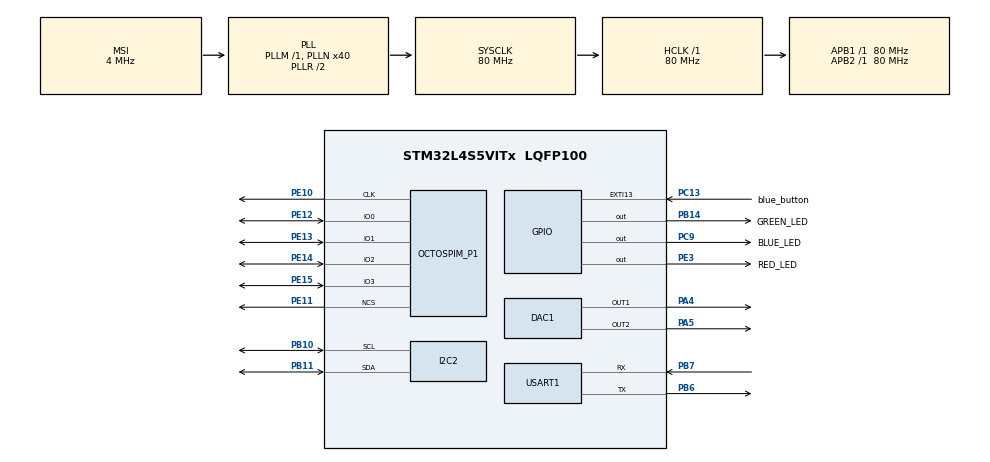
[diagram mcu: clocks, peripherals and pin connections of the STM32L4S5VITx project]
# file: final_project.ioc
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DAC1.DAC_Channel-DAC_OUT2=DAC_CHANNEL_2
DAC1.DAC_Trigger-DAC_OUT1=DAC_TRIGGER_T2_TRGO
DAC1.DAC_Trigger-DAC_OUT2=DAC_TRIGGER_T2_TRGO
Dma.DAC1_CH1.0.Direction=DMA_MEMORY_TO_PERIPH
Dma.DAC1_CH1.0.EventEnable=DISABLE
Dma.DAC1_CH1.0.Instance=DMA1_Channel1
Dma.DAC1_CH1.0.MemDataAlignment=DMA_MDATAALIGN_BYTE
Dma.DAC1_CH1.0.MemInc=DMA_MINC_ENABLE
Dma.DAC1_CH1.0.Mode=DMA_CIRCULAR
Dma.DAC1_CH1.0.PeriphDataAlignment=DMA_PDATAALIGN_BYTE
Dma.DAC1_CH1.0.PeriphInc=DMA_PINC_DISABLE
Dma.DAC1_CH1.0.Polarity=HAL_DMAMUX_REQUEST_GEN_RISING
Dma.DAC1_CH1.0.Priority=DMA_PRIORITY_LOW
Dma.DAC1_CH1.0.RequestNumber=1
Dma.DAC1_CH1.0.SignalID=NONE
Dma.DAC1_CH1.0.SyncEnable=DISABLE
Dma.DAC1_CH1.0.SyncPolarity=HAL_DMAMUX_SYNC_NO_EVENT
Dma.DAC1_CH1.0.SyncRequestNumber=1
Dma.DAC1_CH1.0.SyncSignalID=NONE
Dma.DAC1_CH2.1.Direction=DMA_MEMORY_TO_PERIPH
Dma.DAC1_CH2.1.EventEnable=DISABLE
Dma.DAC1_CH2.1.Instance=DMA1_Channel2
Dma.DAC1_CH2.1.MemDataAlignment=DMA_MDATAALIGN_BYTE
Dma.DAC1_CH2.1.MemInc=DMA_MINC_ENABLE
Dma.DAC1_CH2.1.Mode=DMA_CIRCULAR
Dma.DAC1_CH2.1.PeriphDataAlignment=DMA_PDATAALIGN_BYTE
Dma.DAC1_CH2.1.PeriphInc=DMA_PINC_DISABLE
Dma.DAC1_CH2.1.Polarity=HAL_DMAMUX_REQUEST_GEN_RISING
Dma.DAC1_CH2.1.Priority=DMA_PRIORITY_LOW
Dma.DAC1_CH2.1.RequestNumber=1
Dma.DAC1_CH2.1.SignalID=NONE
Dma.DAC1_CH2.1.SyncEnable=DISABLE
Dma.DAC1_CH2.1.SyncPolarity=HAL_DMAMUX_SYNC_NO_EVENT
Dma.DAC1_CH2.1.SyncRequestNumber=1
Dma.DAC1_CH2.1.SyncSignalID=NONE
Dma.Request0=DAC1_CH1
Dma.Request1=DAC1_CH2
FREERTOS.Tasks01=read_sensor,0,128,start_read_sensor,Default,NULL,Dynamic,NULL,NULL;press_button,0,128,start_press_button,Default,NULL,Dynamic,NULL,NULL;change_sensor,0,128,start_change_sensor,Default,NULL,Dynamic,NULL,NULL;send_terminal,0,128,start_send_terminal,Default,NULL,Dynamic,NULL,NULL;detect_temp,3,128,start_temp,Default,NULL,Dynamic,NULL,NULL;detect_gyro,3,128,start_detect_gyro,Default,NULL,Dynamic,NULL,NULL
I2C2.Timing=0x10909CEC
Mcu.Family=STM32L4
Mcu.Name=STM32L4S5VITx
Mcu.Package=LQFP100
NVIC.DMA1_Channel1_IRQn=true\:5\:0\:false\:false\:true\:true\:false\:true\:true
NVIC.DMA1_Channel2_IRQn=true\:5\:0\:false\:false\:true\:true\:false\:true\:true
NVIC.EXTI15_10_IRQn=true\:5\:0\:false\:false\:true\:true\:true\:true\:true
NVIC.I2C2_ER_IRQn=true\:5\:0\:false\:false\:true\:true\:true\:true\:true
NVIC.I2C2_EV_IRQn=true\:5\:0\:false\:false\:true\:true\:true\:true\:true
NVIC.PriorityGroup=NVIC_PRIORITYGROUP_4
NVIC.TIM2_IRQn=true\:5\:0\:false\:false\:true\:true\:true\:true\:true
NVIC.TIM6_DAC_IRQn=true\:5\:0\:false\:false\:true\:false\:false\:true\:true
NVIC.TimeBase=TIM6_DAC_IRQn
NVIC.TimeBaseIP=TIM6
OCTOSPI1.MemoryType=HAL_OSPI_MEMTYPE_MACRONIX
PA13\ (JTMS/SWDIO).Signal=SYS_JTMS-SWDIO
PA4.Signal=COMP_DAC11_group
PA5.Signal=COMP_DAC12_group
PB10.Mode=I2C
PB10.Signal=I2C2_SCL
PB11.Mode=I2C
PB11.Signal=I2C2_SDA
PB14.GPIO_Label=GREEN_LED
PB14.Signal=GPIO_Output
PB3\ (JTDO/TRACESWO).Signal=SYS_JTDO-SWO
PB6.Mode=Asynchronous
PB6.Signal=USART1_TX
PB7.Mode=Asynchronous
PB7.Signal=USART1_RX
PC13.GPIO_Label=blue_button
PC13.Signal=GPXTI13
PC9.GPIO_Label=BLUE_LED
PC9.Signal=GPIO_Output
PE10.Mode=O1_P1_CLK
PE10.Signal=OCTOSPIM_P1_CLK
PE11.Mode=OCTOSPI1_Port1_NCS
PE11.Signal=OCTOSPIM_P1_NCS
PE12.Mode=OCTOSPI1_IOL_Port1L
PE12.Signal=OCTOSPIM_P1_IO0
PE13.Mode=OCTOSPI1_IOL_Port1L
PE13.Signal=OCTOSPIM_P1_IO1
PE14.Mode=OCTOSPI1_IOL_Port1L
PE14.Signal=OCTOSPIM_P1_IO2
PE15.Mode=OCTOSPI1_IOL_Port1L
PE15.Signal=OCTOSPIM_P1_IO3
PE3.GPIO_Label=RED_LED
PE3.Signal=GPIO_Output
ProjectManager.HeapSize=0x200
ProjectManager.StackSize=0x400
ProjectManager.TargetToolchain=STM32CubeIDE
RCC.ADCFreq_Value=48000000
RCC.AHBFreq_Value=80000000
RCC.APB1Freq_Value=80000000
RCC.APB1TimFreq_Value=80000000
RCC.APB2Freq_Value=80000000
RCC.APB2TimFreq_Value=80000000
RCC.CortexFreq_Value=80000000
RCC.HCLKFreq_Value=80000000
RCC.HSE_VALUE=8000000
RCC.HSI48_VALUE=48000000
RCC.HSI_VALUE=16000000
RCC.LSE_VALUE=32768
RCC.MSI_VALUE=4000000
RCC.PLLN=40
RCC.PLLSAI1N=24
RCC.SYSCLKFreq_VALUE=80000000
RCC.SYSCLKSource=RCC_SYSCLKSOURCE_PLLCLK
RCC.USBFreq_Value=48000000
RCC.VCOOutputFreq_Value=160000000
SH.COMP_DAC11_group.0=DAC1_OUT1,DAC_OUT1
SH.COMP_DAC12_group.0=DAC1_OUT2,DAC_OUT2
TIM2.Period=1814
TIM2.Prescaler=1
TIM2.TIM_MasterOutputTrigger=TIM_TRGO_UPDATE
USART1.VirtualMode-Asynchronous=VM_ASYNC
VP_FREERTOS_VS_CMSIS_V1.Mode=CMSIS_V1
VP_OCTOSPI1_VS_quad.Mode=quad_mode
VP_SYS_VS_tim6.Mode=TIM6
VP_TIM2_VS_ClockSourceINT.Mode=Internal
board=B-L4S5I-IOT01A

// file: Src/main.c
/* USER CODE BEGIN Header */
/**
  ******************************************************************************
  * @file           : main.c
  * @brief          : Main program body
  ******************************************************************************
  * @attention
  *
  * Copyright (c) 2022 STMicroelectronics.
  * All rights reserved.
  *
  * This software is licensed under terms that can be found in the LICENSE file
  * in the root directory of this software component.
  * If no LICENSE file comes with this software, it is provided AS-IS.
  *
  ******************************************************************************
  */
/* USER CODE END Header */
#include "main.h"
#include "cmsis_os.h"

/* USER CODE BEGIN Includes */
#include "stm32l4s5i_iot01_qspi.h"
#include "stm32l4s5i_iot01.h"
#include "stm32l4s5i_iot01_hsensor.h"
#include "stm32l4s5i_iot01_gyro.h"
#include "stm32l4s5i_iot01_magneto.h"
#include "stm32l4s5i_iot01_psensor.h"
#include "stm32l4s5i_iot01_tsensor.h"
#include "../Components/lps22hb/lps22hb.c"
#include "../Components/lsm6dsl/lsm6dsl.c"
#include "../Components/lis3mdl/lis3mdl.c"
#include "../Components/hts221/hts221.c"
#include <math.h>
#include <stdio.h>
#include "arm_math.h"
/* USER CODE END Includes */

DAC_HandleTypeDef hdac1;
DMA_HandleTypeDef hdma_dac1_ch1;
DMA_HandleTypeDef hdma_dac1_ch2;

I2C_HandleTypeDef hi2c2;

OSPI_HandleTypeDef hospi1;

TIM_HandleTypeDef htim2;

UART_HandleTypeDef huart1;

osThreadId handle_quakeHandle;
osThreadId handle_tempHandle;
osThreadId handle_speakerHandle;
osThreadId send_terminalHandle;
/* USER CODE BEGIN PV */

#define data_array_size 20
#define wave_size 33075

char buffer[100];
int count = 0;
float humidity;
float gyro[3];
float gyro_x[data_array_size];
float gyro_y[data_array_size];
float gyro_z[data_array_size];

//sound waves
uint8_t G6[28];
uint8_t E7[16];
uint8_t A6[12];

float temp;
int flag = 0;
int temp_warningLevel = 0;//0 no danger, 1 warning, 2 severe, 3 danger.
int quake_warningLevel = 0;
int earthquake = 0;
int mode=0;//mode 0: disable detect, mode 1: detect temp, mode 2: detect earthquake

/* USER CODE END PV */

void SystemClock_Config(void);
static void MX_GPIO_Init(void);
static void MX_DMA_Init(void);
static void MX_I2C2_Init(void);
static void MX_USART1_UART_Init(void);
static void MX_OCTOSPI1_Init(void);
static void MX_TIM2_Init(void);
static void MX_DAC1_Init(void);
void earthquakeHandler(void const * argument);
void temperatureHandler(void const * argument);
void speakerHandler(void const * argument);
void sendTerminal(void const * argument);

/* USER CODE BEGIN PFP */

void init_sound_wave();
void write_sound_wave_into_mem();
void init_gyro_record();
void push_data_into_gyro_record();

/* USER CODE END PFP */

/* USER CODE BEGIN 0 */

uint32_t play[wave_size]={1};//33075

//each time the blue button is pressed, modify the counter to change the detected sensor.
void HAL_GPIO_EXTI_Callback(uint16_t GPIO_PIN) {
	if (GPIO_PIN == GPIO_PIN_13) {
		HAL_GPIO_TogglePin(GPIOA, GPIO_PIN_5);
		mode=(mode+1)%3;
	}
}

/**
 * Initialize the warning sound wave.
 * Level1: with frequency: xxx
 * Level2: with frequency: xxx
 * Level3: with frequency: xxx
 */
void init_sound_wave(){
	//Tone 1
	//G6 1567.98 Hz
	//sample n = 44.1k/1567.98 = 28
	for(int i = 0; i < 28; i++){
		G6[i] =  0.33*(1 + arm_sin_f32(2*PI*i/28))*256;
	}

	//Tone 2
	//E7 2637.02 Hz
	//sample n = 44.1k/1318.5 = 16
	for(int i = 0; i < 16; i++){
		E7[i] =  0.33*(1 + arm_sin_f32(2*PI*i/16))*256;
	}

	//Tone 3
	//A6 3520.0 Hz
	//sample n = 44.1k/3520 = 12
	for(int i = 0; i < 12; i++){
		A6[i] =  0.33*(1 + arm_sin_f32(2*PI*i/12))*256;
	}
}

/**
 * Write the sound waves into the flash.
 */
void write_sound_wave_into_mem(){
	uint32_t tone_addr = 0x000000;

	//Write in tone1 C6, start at 0
	for(int i = 0; i < 1181; i++){
	  if(BSP_QSPI_Write((uint8_t *)G6, tone_addr, 28) != QSPI_OK){
		  Error_Handler();
	  }
	  tone_addr += 28;
	}
	tone_addr = 0x008133;//33075

  //Write in tone2 E6, start at 33075
  for(int i = 0; i < 2067; i++){
	  if(BSP_QSPI_Write((uint8_t *)E7, tone_addr, 16) != QSPI_OK){
		  Error_Handler();
	  }
	  tone_addr += 16;
  }
  tone_addr = 0x010266;//66150

  //Write in tone3 G6, start at 66150
  for(int i = 0; i < 2756; i++){
	  if(BSP_QSPI_Write((uint8_t *)A6, tone_addr, 12) != QSPI_OK){
		  Error_Handler();
	  }
	  tone_addr += 12;
  }
}

/**
 * Initialize the gyro sensor data array.
 */
void init_gyro_record(){
	BSP_GYRO_GetXYZ(gyro);
	for(int i=0;i<data_array_size;i++){
		gyro_x[i]=gyro[0];
		gyro_y[i]=gyro[1];
		gyro_z[i]=gyro[2];
	}
}

/**
 * Update the gyro record.
 */
void push_data_into_gyro_record(){
	for(int i=0;i<data_array_size-1;i++){
		gyro_x[i]=gyro_x[i+1];
		gyro_y[i]=gyro_y[i+1];
		gyro_z[i]=gyro_z[i+1];
	}
	gyro_x[data_array_size-1]=gyro[0];
	gyro_y[data_array_size-1]=gyro[1];
	gyro_z[data_array_size-1]=gyro[2];
}
/* USER CODE END 0 */

int main(void)
{

  /* MCU Configuration--------------------------------------------------------*/

  /* Reset of all peripherals, Initializes the Flash interface and the Systick. */
  HAL_Init();

  /* Configure the system clock */
  SystemClock_Config();

  /* Initialize all configured peripherals */
  MX_GPIO_Init();
  MX_DMA_Init();
  MX_I2C2_Init();
  MX_USART1_UART_Init();
  MX_OCTOSPI1_Init();
  MX_TIM2_Init();
  MX_DAC1_Init();
  /* USER CODE BEGIN 2 */
  //component init
  BSP_QSPI_Init();
  HAL_TIM_Base_Start_IT(&htim2);
  BSP_HSENSOR_Init();
  BSP_GYRO_Init();
  BSP_TSENSOR_Init();
  //private function init
  init_sound_wave();
  init_gyro_record();

  //Erase 3 blocks prior to write in
  if(BSP_QSPI_Erase_Block(0) != QSPI_OK){
	  Error_Handler();
  }
  if(BSP_QSPI_Erase_Block(65536) != QSPI_OK){
	  Error_Handler();
  }
  if(BSP_QSPI_Erase_Block(131072) != QSPI_OK){
	  Error_Handler();
  }

  //After erased the blocks, we can write in the samples of tones
  write_sound_wave_into_mem();

  /* USER CODE END 2 */

  /* Create the thread(s) */
  /* definition and creation of handle_quake */
  osThreadDef(handle_quake, earthquakeHandler, osPriorityHigh, 0, 128);
  handle_quakeHandle = osThreadCreate(osThread(handle_quake), NULL);

  /* definition and creation of handle_temp */
  osThreadDef(handle_temp, temperatureHandler, osPriorityAboveNormal, 0, 128);
  handle_tempHandle = osThreadCreate(osThread(handle_temp), NULL);

  /* definition and creation of handle_speaker */
  osThreadDef(handle_speaker, speakerHandler, osPriorityNormal, 0, 128);
  handle_speakerHandle = osThreadCreate(osThread(handle_speaker), NULL);

  /* definition and creation of send_terminal */
  osThreadDef(send_terminal, sendTerminal, osPriorityNormal, 0, 128);
  send_terminalHandle = osThreadCreate(osThread(send_terminal), NULL);

  /* Start scheduler */
  osKernelStart();

  /* We should never get here as control is now taken by the scheduler */
  /* Infinite loop */
  while (1)
  {

  }
}

void SystemClock_Config(void)
{
  RCC_OscInitTypeDef RCC_OscInitStruct = {0};
  RCC_ClkInitTypeDef RCC_ClkInitStruct = {0};

  /** Configure the main internal regulator output voltage
  */
  if (HAL_PWREx_ControlVoltageScaling(PWR_REGULATOR_VOLTAGE_SCALE1) != HAL_OK)
  {
    Error_Handler();
  }

  /** Initializes the RCC Oscillators according to the specified parameters
  * in the RCC_OscInitTypeDef structure.
  */
  RCC_OscInitStruct.OscillatorType = RCC_OSCILLATORTYPE_MSI;
  RCC_OscInitStruct.MSIState = RCC_MSI_ON;
  RCC_OscInitStruct.MSICalibrationValue = 0;
  RCC_OscInitStruct.MSIClockRange = RCC_MSIRANGE_6;
  RCC_OscInitStruct.PLL.PLLState = RCC_PLL_ON;
  RCC_OscInitStruct.PLL.PLLSource = RCC_PLLSOURCE_MSI;
  RCC_OscInitStruct.PLL.PLLM = 1;
  RCC_OscInitStruct.PLL.PLLN = 40;
  RCC_OscInitStruct.PLL.PLLP = RCC_PLLP_DIV2;
  RCC_OscInitStruct.PLL.PLLQ = RCC_PLLQ_DIV2;
  RCC_OscInitStruct.PLL.PLLR = RCC_PLLR_DIV2;
  if (HAL_RCC_OscConfig(&RCC_OscInitStruct) != HAL_OK)
  {
    Error_Handler();
  }

  /** Initializes the CPU, AHB and APB buses clocks
  */
  RCC_ClkInitStruct.ClockType = RCC_CLOCKTYPE_HCLK|RCC_CLOCKTYPE_SYSCLK
                              |RCC_CLOCKTYPE_PCLK1|RCC_CLOCKTYPE_PCLK2;
  RCC_ClkInitStruct.SYSCLKSource = RCC_SYSCLKSOURCE_PLLCLK;
  RCC_ClkInitStruct.AHBCLKDivider = RCC_SYSCLK_DIV1;
  RCC_ClkInitStruct.APB1CLKDivider = RCC_HCLK_DIV1;
  RCC_ClkInitStruct.APB2CLKDivider = RCC_HCLK_DIV1;

  if (HAL_RCC_ClockConfig(&RCC_ClkInitStruct, FLASH_LATENCY_3) != HAL_OK)
  {
    Error_Handler();
  }
}

static void MX_DAC1_Init(void)
{

  DAC_ChannelConfTypeDef sConfig = {0};

  /** DAC Initialization
  */
  hdac1.Instance = DAC1;
  if (HAL_DAC_Init(&hdac1) != HAL_OK)
  {
    Error_Handler();
  }

  /** DAC channel OUT1 config
  */
  sConfig.DAC_SampleAndHold = DAC_SAMPLEANDHOLD_DISABLE;
  sConfig.DAC_Trigger = DAC_TRIGGER_T2_TRGO;
  sConfig.DAC_HighFrequency = DAC_HIGH_FREQUENCY_INTERFACE_MODE_ABOVE_80MHZ;
  sConfig.DAC_OutputBuffer = DAC_OUTPUTBUFFER_ENABLE;
  sConfig.DAC_ConnectOnChipPeripheral = DAC_CHIPCONNECT_DISABLE;
  sConfig.DAC_UserTrimming = DAC_TRIMMING_FACTORY;
  if (HAL_DAC_ConfigChannel(&hdac1, &sConfig, DAC_CHANNEL_1) != HAL_OK)
  {
    Error_Handler();
  }

  /** DAC channel OUT2 config
  */
  if (HAL_DAC_ConfigChannel(&hdac1, &sConfig, DAC_CHANNEL_2) != HAL_OK)
  {
    Error_Handler();
  }

}

static void MX_I2C2_Init(void)
{

  hi2c2.Instance = I2C2;
  hi2c2.Init.Timing = 0x10909CEC;
  hi2c2.Init.OwnAddress1 = 0;
  hi2c2.Init.AddressingMode = I2C_ADDRESSINGMODE_7BIT;
  hi2c2.Init.DualAddressMode = I2C_DUALADDRESS_DISABLE;
  hi2c2.Init.OwnAddress2 = 0;
  hi2c2.Init.OwnAddress2Masks = I2C_OA2_NOMASK;
  hi2c2.Init.GeneralCallMode = I2C_GENERALCALL_DISABLE;
  hi2c2.Init.NoStretchMode = I2C_NOSTRETCH_DISABLE;
  if (HAL_I2C_Init(&hi2c2) != HAL_OK)
  {
    Error_Handler();
  }

  /** Configure Analogue filter
  */
  if (HAL_I2CEx_ConfigAnalogFilter(&hi2c2, I2C_ANALOGFILTER_ENABLE) != HAL_OK)
  {
    Error_Handler();
  }

  /** Configure Digital filter
  */
  if (HAL_I2CEx_ConfigDigitalFilter(&hi2c2, 0) != HAL_OK)
  {
    Error_Handler();
  }

}

static void MX_OCTOSPI1_Init(void)
{

  OSPIM_CfgTypeDef OSPIM_Cfg_Struct = {0};

  /* OCTOSPI1 parameter configuration*/
  hospi1.Instance = OCTOSPI1;
  hospi1.Init.FifoThreshold = 1;
  hospi1.Init.DualQuad = HAL_OSPI_DUALQUAD_DISABLE;
  hospi1.Init.MemoryType = HAL_OSPI_MEMTYPE_MACRONIX;
  hospi1.Init.DeviceSize = 32;
  hospi1.Init.ChipSelectHighTime = 1;
  hospi1.Init.FreeRunningClock = HAL_OSPI_FREERUNCLK_DISABLE;
  hospi1.Init.ClockMode = HAL_OSPI_CLOCK_MODE_0;
  hospi1.Init.ClockPrescaler = 1;
  hospi1.Init.SampleShifting = HAL_OSPI_SAMPLE_SHIFTING_NONE;
  hospi1.Init.DelayHoldQuarterCycle = HAL_OSPI_DHQC_DISABLE;
  hospi1.Init.ChipSelectBoundary = 0;
  hospi1.Init.DelayBlockBypass = HAL_OSPI_DELAY_BLOCK_BYPASSED;
  if (HAL_OSPI_Init(&hospi1) != HAL_OK)
  {
    Error_Handler();
  }
  OSPIM_Cfg_Struct.ClkPort = 1;
  OSPIM_Cfg_Struct.NCSPort = 1;
  OSPIM_Cfg_Struct.IOLowPort = HAL_OSPIM_IOPORT_1_LOW;
  if (HAL_OSPIM_Config(&hospi1, &OSPIM_Cfg_Struct, HAL_OSPI_TIMEOUT_DEFAULT_VALUE) != HAL_OK)
  {
    Error_Handler();
  }

}

static void MX_TIM2_Init(void)
{

  TIM_ClockConfigTypeDef sClockSourceConfig = {0};
  TIM_MasterConfigTypeDef sMasterConfig = {0};

  htim2.Instance = TIM2;
  htim2.Init.Prescaler = 1;
  htim2.Init.CounterMode = TIM_COUNTERMODE_UP;
  htim2.Init.Period = 1814;
  htim2.Init.ClockDivision = TIM_CLOCKDIVISION_DIV1;
  htim2.Init.AutoReloadPreload = TIM_AUTORELOAD_PRELOAD_DISABLE;
  if (HAL_TIM_Base_Init(&htim2) != HAL_OK)
  {
    Error_Handler();
  }
  sClockSourceConfig.ClockSource = TIM_CLOCKSOURCE_INTERNAL;
  if (HAL_TIM_ConfigClockSource(&htim2, &sClockSourceConfig) != HAL_OK)
  {
    Error_Handler();
  }
  sMasterConfig.MasterOutputTrigger = TIM_TRGO_UPDATE;
  sMasterConfig.MasterSlaveMode = TIM_MASTERSLAVEMODE_DISABLE;
  if (HAL_TIMEx_MasterConfigSynchronization(&htim2, &sMasterConfig) != HAL_OK)
  {
    Error_Handler();
  }

}

static void MX_USART1_UART_Init(void)
{

  huart1.Instance = USART1;
  huart1.Init.BaudRate = 115200;
  huart1.Init.WordLength = UART_WORDLENGTH_8B;
  huart1.Init.StopBits = UART_STOPBITS_1;
  huart1.Init.Parity = UART_PARITY_NONE;
  huart1.Init.Mode = UART_MODE_TX_RX;
  huart1.Init.HwFlowCtl = UART_HWCONTROL_NONE;
  huart1.Init.OverSampling = UART_OVERSAMPLING_16;
  huart1.Init.OneBitSampling = UART_ONE_BIT_SAMPLE_DISABLE;
  huart1.Init.ClockPrescaler = UART_PRESCALER_DIV1;
  huart1.AdvancedInit.AdvFeatureInit = UART_ADVFEATURE_NO_INIT;
  if (HAL_UART_Init(&huart1) != HAL_OK)
  {
    Error_Handler();
  }
  if (HAL_UARTEx_SetTxFifoThreshold(&huart1, UART_TXFIFO_THRESHOLD_1_8) != HAL_OK)
  {
    Error_Handler();
  }
  if (HAL_UARTEx_SetRxFifoThreshold(&huart1, UART_RXFIFO_THRESHOLD_1_8) != HAL_OK)
  {
    Error_Handler();
  }
  if (HAL_UARTEx_DisableFifoMode(&huart1) != HAL_OK)
  {
    Error_Handler();
  }

}

static void MX_DMA_Init(void)
{

  /* DMA controller clock enable */
  __HAL_RCC_DMAMUX1_CLK_ENABLE();
  __HAL_RCC_DMA1_CLK_ENABLE();

  /* DMA interrupt init */
  /* DMA1_Channel1_IRQn interrupt configuration */
  HAL_NVIC_SetPriority(DMA1_Channel1_IRQn, 5, 0);
  HAL_NVIC_EnableIRQ(DMA1_Channel1_IRQn);
  /* DMA1_Channel2_IRQn interrupt configuration */
  HAL_NVIC_SetPriority(DMA1_Channel2_IRQn, 5, 0);
  HAL_NVIC_EnableIRQ(DMA1_Channel2_IRQn);

}

static void MX_GPIO_Init(void)
{
  GPIO_InitTypeDef GPIO_InitStruct = {0};

  /* GPIO Ports Clock Enable */
  __HAL_RCC_GPIOE_CLK_ENABLE();
  __HAL_RCC_GPIOC_CLK_ENABLE();
  __HAL_RCC_GPIOA_CLK_ENABLE();
  __HAL_RCC_GPIOB_CLK_ENABLE();

  /*Configure GPIO pin Output Level */
  HAL_GPIO_WritePin(RED_LED_GPIO_Port, RED_LED_Pin, GPIO_PIN_RESET);

  /*Configure GPIO pin Output Level */
  HAL_GPIO_WritePin(GREEN_LED_GPIO_Port, GREEN_LED_Pin, GPIO_PIN_RESET);

  /*Configure GPIO pin Output Level */
  HAL_GPIO_WritePin(BLUE_LED_GPIO_Port, BLUE_LED_Pin, GPIO_PIN_RESET);

  /*Configure GPIO pin : RED_LED_Pin */
  GPIO_InitStruct.Pin = RED_LED_Pin;
  GPIO_InitStruct.Mode = GPIO_MODE_OUTPUT_PP;
  GPIO_InitStruct.Pull = GPIO_NOPULL;
  GPIO_InitStruct.Speed = GPIO_SPEED_FREQ_LOW;
  HAL_GPIO_Init(RED_LED_GPIO_Port, &GPIO_InitStruct);

  /*Configure GPIO pin : blue_button_Pin */
  GPIO_InitStruct.Pin = blue_button_Pin;
  GPIO_InitStruct.Mode = GPIO_MODE_IT_RISING;
  GPIO_InitStruct.Pull = GPIO_NOPULL;
  HAL_GPIO_Init(blue_button_GPIO_Port, &GPIO_InitStruct);

  /*Configure GPIO pin : GREEN_LED_Pin */
  GPIO_InitStruct.Pin = GREEN_LED_Pin;
  GPIO_InitStruct.Mode = GPIO_MODE_OUTPUT_PP;
  GPIO_InitStruct.Pull = GPIO_NOPULL;
  GPIO_InitStruct.Speed = GPIO_SPEED_FREQ_LOW;
  HAL_GPIO_Init(GREEN_LED_GPIO_Port, &GPIO_InitStruct);

  /*Configure GPIO pin : BLUE_LED_Pin */
  GPIO_InitStruct.Pin = BLUE_LED_Pin;
  GPIO_InitStruct.Mode = GPIO_MODE_OUTPUT_PP;
  GPIO_InitStruct.Pull = GPIO_NOPULL;
  GPIO_InitStruct.Speed = GPIO_SPEED_FREQ_LOW;
  HAL_GPIO_Init(BLUE_LED_GPIO_Port, &GPIO_InitStruct);

  /* EXTI interrupt init*/
  HAL_NVIC_SetPriority(EXTI15_10_IRQn, 5, 0);
  HAL_NVIC_EnableIRQ(EXTI15_10_IRQn);

}

/* USER CODE BEGIN 4 */
void HAL_DAC_ConvHalfCpltCallbackCh1 (DAC_HandleTypeDef * hdac){
//	HAL_GPIO_TogglePin(GREEN_LED_GPIO_Port, GREEN_LED_Pin);
//	HAL_GPIO_TogglePin(RED_LED_GPIO_Port,RED_LED_Pin);
//	HAL_GPIO_TogglePin(BLUE_LED_GPIO_Port, BLUE_LED_Pin);

//	sound_counter = (sound_counter+1) %3;

}

void HAL_DAC_ConvCpltCallbackCh1 (DAC_HandleTypeDef * hdac){

//	switch(counter){
//	    case 0  :
//			if(BSP_QSPI_Read((uint8_t *)play, 0x000000, size) != QSPI_OK) Error_Handler();
//			HAL_DAC_Start_DMA(&hdac1, DAC_CHANNEL_1, play, size, DAC_ALIGN_8B_R);
//	       break;
//	    case 1  :
//	    	if(BSP_QSPI_Read((uint8_t *)play, 0x008133, size) != QSPI_OK) Error_Handler();
//	    	HAL_DAC_Start_DMA(&hdac1, DAC_CHANNEL_1, play, size, DAC_ALIGN_8B_R);
//	       break;
//	    case 2  :
//	    	if(BSP_QSPI_Read((uint8_t *)play, 0x010266, size) != QSPI_OK) Error_Handler();
//	    	HAL_DAC_Start_DMA(&hdac1, DAC_CHANNEL_1, play, size, DAC_ALIGN_8B_R);
//	       break;
//	}
}

/* USER CODE END 4 */

void earthquakeHandler(void const * argument)
{
  /* USER CODE BEGIN 5 */
  /* Infinite loop */

	for(;;)
	{
		osDelay(100);
		BSP_GYRO_GetXYZ(gyro);
		push_data_into_gyro_record();

		float std_x=0;
		float std_y=0;
		float std_z=0;
		arm_std_f32(&gyro_x,10,&std_x);
		arm_std_f32(&gyro_y,10,&std_y);
		arm_std_f32(&gyro_z,10,&std_z);
		float shake = std_x + std_y + std_z;
		if(shake < 30000){
			quake_warningLevel=0;
		}else if(shake > 30000 && shake < 70000){
			quake_warningLevel=1;
		}else if(shake > 70000 && shake < 100000){
			quake_warningLevel=2;
		}else{
			quake_warningLevel=3;
		}
	}

  /* USER CODE END 5 */
}

void temperatureHandler(void const * argument)
{
  /* USER CODE BEGIN temperatureHandler */
  /* Infinite loop */
  for(;;)
  {
	  osDelay(100);
	  temp=BSP_TSENSOR_ReadTemp();

	  if(temp<38){
		  temp_warningLevel=0;
	  }else if(temp>=38&&temp<40){
		  temp_warningLevel=1;
	  }else if(temp>=40&&temp<45){
		  temp_warningLevel=2;
	  }else{
		  temp_warningLevel=3;
	  }

  }
  /* USER CODE END temperatureHandler */
}

void speakerHandler(void const * argument)
{
  /* USER CODE BEGIN speakerHandler */
  /* Infinite loop */
  for(;;)
  {
	osDelay(100);
	int warningLevel = (temp_warningLevel > quake_warningLevel) ? temp_warningLevel : quake_warningLevel;

	if(warningLevel != 0){
		switch(warningLevel){
			case 1  :
				if(BSP_QSPI_Read((uint8_t *)play, 0x000000, wave_size) != QSPI_OK) Error_Handler();
				HAL_DAC_Start_DMA(&hdac1, DAC_CHANNEL_1, play, wave_size, DAC_ALIGN_8B_R);
			   break;
			case 2  :
				if(BSP_QSPI_Read((uint8_t *)play, 0x008133, wave_size) != QSPI_OK) Error_Handler();
				HAL_DAC_Start_DMA(&hdac1, DAC_CHANNEL_1, play, wave_size, DAC_ALIGN_8B_R);
			   break;
			case 3  :
				if(BSP_QSPI_Read((uint8_t *)play, 0x010266, wave_size) != QSPI_OK) Error_Handler();
				HAL_DAC_Start_DMA(&hdac1, DAC_CHANNEL_1, play, wave_size, DAC_ALIGN_8B_R);
			   break;
		}
		HAL_GPIO_WritePin(RED_LED_GPIO_Port, RED_LED_Pin, GPIO_PIN_SET);
	}else{
		HAL_GPIO_WritePin(RED_LED_GPIO_Port, RED_LED_Pin, GPIO_PIN_RESET);
		HAL_DAC_Stop_DMA (&hdac1, DAC_CHANNEL_1);
	}
  }
  /* USER CODE END speakerHandler */
}

void sendTerminal(void const * argument)
{
  /* USER CODE BEGIN sendTerminal */
  /* Infinite loop */
  for(;;)
  {
	  osDelay(100);

	  	for (int i = 0; i < 100; i++){
	  		buffer[i] = '\0';
	  	}

	  	if(mode==1){
	  		if(temp<38){
	  			sprintf(buffer, "OK, temperature is %d \r\n", (int) temp);
	  		}else if(temp>=38&&temp<40){
	  			sprintf(buffer, "Warning, temperature is %d !!\r\n", (int) temp);
	  		}else if(temp>=40&&temp<45){
	  			sprintf(buffer, "Danger, temperature is %d !!!!!!\r\n", (int) temp);
	  		}else{
	  			sprintf(buffer, "Extremely danger, temperature is %d !!!!!!!!!!!!!Please leave the house!!!!!!!!!!\r\n", (int) temp);
	  		}
	  	}else if(mode==2){
	  		float std_x=0;
	  		float std_y=0;
	  		float std_z=0;
	  		arm_std_f32(&gyro_x,10,&std_x);
	  		arm_std_f32(&gyro_y,10,&std_y);
	  		arm_std_f32(&gyro_z,10,&std_z);
	  		sprintf(buffer, "Gyro: %d, %d, %d \r\n", (int) std_x, (int) std_y, (int) std_z);
	  	}else{
	  		sprintf(buffer, "Detection disabled now. \r\n");
	  	}

	  	HAL_Delay(100);
	      HAL_UART_Transmit(&huart1, (uint8_t*) buffer, sizeof(buffer), 10000);
  }
  /* USER CODE END sendTerminal */
}

void HAL_TIM_PeriodElapsedCallback(TIM_HandleTypeDef *htim)
{
  if (htim->Instance == TIM6) {
    HAL_IncTick();
  }
}

void Error_Handler(void)
{
  __disable_irq();
  while (1)
  {
  }
}
